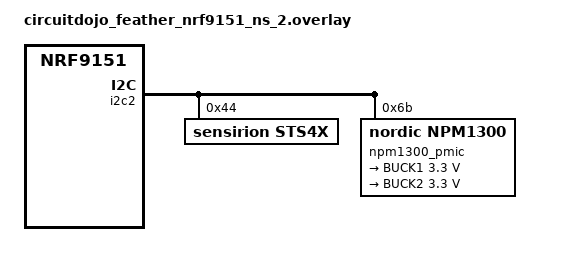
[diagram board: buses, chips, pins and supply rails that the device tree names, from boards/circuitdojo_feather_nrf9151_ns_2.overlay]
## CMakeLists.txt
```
# SPDX-License-Identifier: Apache-2.0

cmake_minimum_required(VERSION 3.20.0)

find_package(Zephyr REQUIRED HINTS $ENV{ZEPHYR_BASE})
project(fleetpin)

target_sources(app PRIVATE src/main.c)

# LTE Cloud files
target_sources(app PRIVATE src/cloud/cloud.c)
# Fleetpin Platform I/O files
target_sources(app PRIVATE src/cloud/apiclient/api_client.c)
# Authentication
target_sources(app PRIVATE src/cloud/authentication/auth.c)
# Decompression
target_sources(app PRIVATE src/cloud/miniz/miniz.c)

# Waveshare epaper files
target_sources(app PRIVATE src/epaper/epaper_driver.c)
target_sources(app PRIVATE src/epaper/epaper.c)
target_sources(app PRIVATE src/epaper/GUI_Paint.c)
target_sources(app PRIVATE src/epaper/Fonts/font8.c)
target_sources(app PRIVATE src/epaper/Fonts/font12.c)
target_sources(app PRIVATE src/epaper/Fonts/font16.c)
target_sources(app PRIVATE src/epaper/Fonts/font20.c)
target_sources(app PRIVATE src/epaper/Fonts/font24.c)

# Flash filesystem
target_sources(app PRIVATE src/flash/flash_fs.c)

# Device configuration
target_sources(app PRIVATE src/config/device_cfg.c)

# Date / Time - the libraries are include via the defines in the prj.conf file

target_include_directories(app PUBLIC src)
```

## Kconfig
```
menu "Application Configuration"

source "Kconfig.zephyr"

config DEFAULT_DELAY_MINUTES
    int "Update interval (minutes)"
    default 2

config APN_DEFAULT_VALUE
    string "Description of the string option"
    default "onemondo"
    help
      This is a custom string configuration for the APN of SIM card used.

config DEVICE_ID
    int "Device ID of this device"
    default 0
    help
      This is a custom string configuration for the device ID of this device.

config API_SECRET
    string "API Secret for HMAC encoding"
    default "ABC123"
    help
      API secret 

rsource "src/cloud/Kconfig.cloud"

rsource "src/flash/Kconfig.flash"

endmenu
```

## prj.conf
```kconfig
# Heap and stacks
CONFIG_HEAP_MEM_POOL_SIZE=8192
CONFIG_MAIN_STACK_SIZE=4096
CONFIG_SYSTEM_WORKQUEUE_STACK_SIZE=4096
CONFIG_THREAD_NAME=y
# CONFIG_THREAD_ANALYZER=y
# CONFIG_THREAD_ANALYZER_AUTO=y
# CONFIG_THREAD_ANALYZER_RUN_UNLOCKED=y
# CONFIG_THREAD_ANALYZER_USE_PRINTK=y

# New Libc
CONFIG_NEWLIB_LIBC=n
CONFIG_NEWLIB_LIBC_FLOAT_PRINTF=n

# Network
CONFIG_NETWORKING=y
CONFIG_NET_NATIVE=n
CONFIG_NET_SOCKETS=y
CONFIG_NET_SOCKETS_OFFLOAD=y
CONFIG_POSIX_API=y
CONFIG_NET_IPV6=n
CONFIG_NET_IPV4=y

# LTE link control
CONFIG_LTE_LINK_CONTROL=y

# PSM enable
CONFIG_LTE_LC_PSM_MODULE=y
CONFIG_LTE_PSM_REQ=y
CONFIG_LTE_PSM_REQ_RPTAU="00100110" # 6 hour
CONFIG_LTE_PSM_REQ_RAT="00000011" # 6 sec active time

# Modem library
CONFIG_NRF_MODEM_LIB=y
CONFIG_NRF_MODEM_LIB_TRACE=n
CONFIG_MODEM_KEY_MGMT=y

# Date Time library
CONFIG_DATE_TIME=y
CONFIG_DATE_TIME_NTP=y
CONFIG_DATE_TIME_AUTO_UPDATE=y
# 12 hour updates
CONFIG_DATE_TIME_UPDATE_INTERVAL_SECONDS=43200
CONFIG_DATE_TIME_NTP_QUERY_TIME_SECONDS=3600

# Logging
CONFIG_LOG=y
# CONFIG_LOG_MODE_IMMEDIATE=y

# EPAPER (SPI)
CONFIG_SPI=y
CONFIG_SPI_NRFX=y
CONFIG_GPIO=y
CONFIG_SPI_ASYNC=y
CONFIG_SPI_SLAVE=y
CONFIG_TFM_LOG_LEVEL_SILENCE=y  # TFM fix to disable UART1, since SPI1 is used for e-Paper

# Regulator control
CONFIG_REGULATOR=y
# Zephyr Device Power Management
# CONFIG_PM_DEVICE=y

# Enable flash operations.
# CONFIG_SPI=y # Already enabled above in EPAPER (SPI) section
CONFIG_SPI_NOR=y
CONFIG_SPI_NOR_FLASH_LAYOUT_PAGE_SIZE=4096
CONFIG_SPI_NOR_SFDP_RUNTIME=y
CONFIG_FLASH=y
CONFIG_FLASH_MAP=y
CONFIG_FLASH_PAGE_LAYOUT=y
# Enable the LittleFS file system.
CONFIG_FILE_SYSTEM=y
CONFIG_FILE_SYSTEM_LITTLEFS=y
# Erase
# CONFIG_APP_WIPE_STORAGE=y

# Log immediate
CONFIG_LOG=y
CONFIG_LOG_MODE_IMMEDIATE=y

# Partition manager settings
CONFIG_PM_EXTERNAL_FLASH_MCUBOOT_SECONDARY=n
CONFIG_PM_OVERRIDE_EXTERNAL_DRIVER_CHECK=y

# cJSON
CONFIG_CJSON_LIB=y

# HTTP
CONFIG_HTTP_CLIENT=y

# MBED TLS for Authentication
CONFIG_MBEDTLS=y
CONFIG_MBEDTLS_MD_C=y
CONFIG_MBEDTLS_SHA256_C=y
CONFIG_NRF_SECURITY=y
CONFIG_NORDIC_SECURITY_BACKEND=y

# Enable nordic security backend and PSA APIs
CONFIG_MBEDTLS_PSA_CRYPTO_C=y

CONFIG_MBEDTLS_ENABLE_HEAP=y
CONFIG_MBEDTLS_HEAP_SIZE=8192

# Debug
# CONFIG_ASSERT=y
# CONFIG_RESET_ON_FATAL_ERROR=n

# Change host
CONFIG_CLOUD_HOSTNAME="fota.fleetpin.com"
# Endpoints defined in code, as there are multiple
#CONFIG_CLOUD_PUBLISH_PATH="/api/device/data"
# If using TLS, the port has to be 443 for https
CONFIG_CLOUD_PORT=3000

# SIM Card's APN
CONFIG_APN_DEFAULT_VALUE="onemondo" # Onemondo APN
#CONFIG_APN_DEFAULT_VALUE="m2m" # Spark APN

# Device configuration specific
CONFIG_DEVICE_ID=1
CONFIG_API_SECRET="ABC123"
# Final value should be 12 hours
# CONFIG_DEFAULT_DELAY_MINUTES=720 # 12 hours
# But for faster testing is currently set to 2 minutes in the default value in Kconfig
```

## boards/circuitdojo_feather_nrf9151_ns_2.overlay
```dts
/*
 * Copyright (c) 2024 Circuit Dojo LLC
 *
 * SPDX-License-Identifier: Apache-2.0
 */

&i2c2 {

	sts4x: sts4x@44 {
		compatible = "sensirion,sts4x";
		reg = <0x44>;
		repeatability = <2>;
	};
	
	npm1300_pmic: pmic@6b {
        compatible = "nordic,npm1300";
        reg = <0x6b>;

        regulators {
            compatible = "nordic,npm1300-regulator";

            BUCK1: BUCK1 {
				regulator-min-microvolt = <3300000>;
				regulator-max-microvolt = <3300000>;
                regulator-init-microvolt = <3300000>; /* 3.3V */
				startup-delay-us = <2000>;
				regulator-always-on;
                // regulator-boot-on;
            };
            BUCK2: BUCK2 {
				regulator-min-microvolt = <3300000>;
				regulator-max-microvolt = <3300000>;
                regulator-boot-on;
            };
        };
    };
};
```

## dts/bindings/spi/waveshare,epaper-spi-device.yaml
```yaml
# Copyright (c) 2026, Flexware Ltd
# SPDX-License-Identifier: Apache-2.0

compatible: "waveshare,epaper-spi-device"

include: [spi-device.yaml]

description: |
    This binding provides the ePaper SPI device resources to
    build and run epaper driver in Zephyr.
    Additional GPIOs required for ePaper display operation should also be defined.

properties:
  chip-select-gpios:
    type: phandle-array
    required: true
    description: |
      Board GPIO input used to manually control the chip select.

  busy-gpios:
    type: phandle-array
    required: true
    description: |
      Board GPIO input used to detect that the device is busy.

  rst-gpios:
    type: phandle-array
    required: true
    description: |
      Board GPIO output used to reset the device.
  
  data-command-gpios:
    type: phandle-array
    required: true
    description: |
      Board GPIO output used to select if the transaction is data or command.

  pwr-gpios:
    type: phandle-array
    required: true
    description: |
      Board GPIO output used to power on/off the device.
```

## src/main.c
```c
/*
 * Copyright (c) 2020 Circuit Dojo LLC
 *
 * SPDX-License-Identifier: Apache-2.0
 */

#include <zephyr/kernel.h>
#include <zephyr/pm/device.h>
#include <zephyr/logging/log.h>
LOG_MODULE_REGISTER(main, LOG_LEVEL_DBG);

/* nRF Libraries */
#include <modem/nrf_modem_lib.h>
#include <modem/lte_lc.h>
#include <modem/modem_info.h>

#include <modem/nrf_modem_lib.h>
#include <nrf_modem_at.h>

/* Local */
#include "cloud/cloud.h"
#include "cloud/apiclient/api_client.h"
#include "config/device_cfg.h"
#include "date_time.h"
#include "epaper/epaper.h"
#include "flash/flash_fs.h"

#include "lib/macro.h"
#include "version.h"

#include <inttypes.h>
#include <stdint.h>

//Header Parsing 
#include <stdio.h>
#include <string.h>
#include <ctype.h>
#include <stdlib.h>

#include "cloud/miniz/miniz.h" 

#ifndef CONFIG_APN_DEFAULT_VALUE
#   define CONFIG_APN_DEFAULT_VALUE "onemondo"
#endif

#define CONFIG_RETRY_DELAY_MINUTES 1

/* Timer */
static void timeout_handler(struct k_timer *timer_id);
K_TIMER_DEFINE(timer, timeout_handler, NULL);

/* Thread control */
K_SEM_DEFINE(thread_sem, 0, 1);
K_SEM_DEFINE(lte_connected, 0, 1);
K_SEM_DEFINE(new_display, 0, 1);
K_SEM_DEFINE(new_device_cfg, 0, 1); 

/* Variables */
// Declare a static image buffer for the ePaper display
// Each byte represents 8 horizontal pixels.
#define MAX_WIDTH   800u
#define MAX_HEIGHT  480u
#define MAX_IMAGE_SIZE ((MAX_WIDTH/8u) * MAX_HEIGHT)

//Also need a receive buffer for the compressed data received from the http request 
static uint8_t http_receive_buf[MAX_IMAGE_SIZE] = {0}; 

//Create a new image cache
static uint8_t DisplayImage[MAX_IMAGE_SIZE] = {0};
static size_t current_display_image_index = 0u;
static device_cfg_t * device_cfg_ptr = NULL;
static device_cfg_t http_device_cfg = {0}; 

static void timeout_handler(struct k_timer *timer_id)
{
    LOG_INF("Main loop going back to sleep");
    k_sem_give(&thread_sem);
}

static void lte_handler(const struct lte_lc_evt *evt)
{
    switch (evt->type) {
    case LTE_LC_EVT_NW_REG_STATUS:
        if ((evt->nw_reg_status == LTE_LC_NW_REG_REGISTERED_HOME) ||
            (evt->nw_reg_status == LTE_LC_NW_REG_REGISTERED_ROAMING)) 
        {
            LOG_INF("LTE connected to network.");
            k_sem_give(&lte_connected);
        }
        break;

    default:
        break;
    }
}

/* Initialization of AUX pin */
#if defined(CONFIG_BOARD_CIRCUITDOJO_FEATHER_NRF9151)
#define AUXANTCFG_ENABLE "AT\%XANTCFG=1"

static inline void set_apn_name(const char * apn_name)
{
#   define GET_APN_CONFIG "AT+CGDCONT?"
#   define SET_APN_CONFIG "AT+CGDCONT=1,\"IP\","
    char response[5u] = {0};
    char at_command[60] = {0};
    ZERO_ARRAY(response);
    ZERO_ARRAY(at_command);

    // Build the command to send
    snprintf(at_command, sizeof(at_command), "%s\"%s\"\n", SET_APN_CONFIG, apn_name);

    LOG_DBG("Sending APN config: %sn", at_command);
    int err = nrf_modem_at_cmd(response, sizeof(response), "%s", at_command);
    if (err)
    {
        LOG_ERR("Failed to set APN configuration (err: %d)", err);
    }
    LOG_DBG("APN config Response: %s", response);
}

NRF_MODEM_LIB_ON_INIT(aux_init_hook, on_modem_lib_init, NULL);
static void on_modem_lib_init(int ret, void *ctx)
{
    ARG_UNUSED(ctx);

    if (ret != 0)
    {
        return;
    }

    LOG_DBG("*** Setting configuration: %s ***\n", AUXANTCFG_ENABLE);
    int err = nrf_modem_at_printf("%s", AUXANTCFG_ENABLE);
    if (err)
    {
        LOG_ERR("Failed to set configuration (err: %d)", err);
    }

    set_apn_name(CONFIG_APN_DEFAULT_VALUE);
}
#endif

#if 0
/**
 * The received http data, pushing the data into the display image buffer. Already do this in the 
 * http response callback when we uncompress the data. 
*/
static void push_http_bmp_into_epaper_buffer(bool is_first_chunk_of_data, 
    const uint8_t * const http_bmp_data, size_t http_data_len)
{
    if (is_first_chunk_of_data)
    {
        current_display_image_index = 0u;
    }

    int status = epaper_store_data_to_buffer(DisplayImage, current_display_image_index, sizeof(DisplayImage), 
        http_bmp_data, http_data_len);
    if (status == -EDOM || status == -EINVAL)
    {
        LOG_ERR("Failed to store http bmp data.");
    }
    current_display_image_index = status;
}

static void store_epaper_buffer_to_file(const char * filename, const uint8_t * const epaper_buffer)
{
    int result = flash_fs_write_file_to_fs(filename, DisplayImage, sizeof(DisplayImage));
    if (result != 0)
    {
        LOG_ERR("Failed to write epaper bitmap to file.");
    }
}
#endif 

/* Define the stack sizes for the threads */
#define STACK_SIZE                  1024
#define CLOUD_THREAD_STACK_SIZE     (2*STACK_SIZE)
#define FLASH_THREAD_STACK_SIZE     (3*STACK_SIZE)
#define EPAPER_THREAD_STACK_SIZE    (2*STACK_SIZE)
/* Define thread priorities (lower number = higher priority) */
#define CLOUD_PRIORITY 7 
#define EPAPER_PRIORITY 8
#define FLASH_FS_PRIORITY 9

static void get_time_now(void)
{
    int64_t time_now = 0;
    int err = date_time_now(&time_now);
    if (err < 0)
    {
        LOG_ERR("Failed to get date/time. Err: %i", err);
        return;
    }
    LOG_DBG("Time now: %" PRIi64 "ms", time_now);
}

static void date_time_handler(const struct date_time_evt *evt) 
{
    switch (evt->type) 
    {
        case DATE_TIME_OBTAINED_NTP:
            LOG_DBG("Time obtained from NTP\n");
            // Perform actions with time here
            break;
        case DATE_TIME_OBTAINED_MODEM:
            LOG_DBG("Time obtained from Modem\n");
            break;
        default:
            break;
    }
}

#if 0
static void dump_of_request_update_response_handler_from_arduino(void)
{
      // Check for connection/timeout errors
  if (code < 0) {
    printf("[APIClient] HTTP error: %d\n", code);
    result.success = false;
    result.hasUpdate = false;
    return result;
  }
  
    std::map<String, String> headers = readAllHeaders(http);
  if (headers.find("ETag") != headers.end()) {
    printf("[APIClient] Last ETag %s\n", headers["ETag"]);
    result.lastETag = headers["ETag"];
  }

  // Extract X-Config-Version
  if (headers.find("X-Config-Version") != headers.end()) {
    result.configVersion = headers["X-Config-Version"];
    printf("[APIClient] X-Config-Version: %s\n", result.configVersion.c_str());
  }

  // Extract X-Sleep-Seconds
  if (headers.find("X-Sleep-Seconds") != headers.end()) {
    result.sleepForSeconds = headers["X-Sleep-Seconds"].toInt();
    printf("[APIClient] X-Sleep-Seconds: %d seconds\n", result.sleepForSeconds);
  } else {
    result.sleepForSeconds = 0;
  }

  if (code == 200)
  {
    printf("[APIClient] Update available, status code: %d\n", code);
    String response = http.responseBody();
    int compressedLen = response.length();
    printf("[APIClient] Compressed response length: %d\n", compressedLen);

    // Allocate destination buffer (assume uncompressed will not exceed 48000)
    mz_ulong uncompressedLen = 48000;
    uint8_t* uncompressed = new uint8_t[uncompressedLen];
    int resultCode = mz_uncompress(uncompressed, &uncompressedLen, (const uint8_t*)response.c_str(), compressedLen);

    if (resultCode == Z_OK) {
      printf("[APIClient] Uncompressed BMP length: %lu\n", uncompressedLen);
      result.rucBMP = uncompressed;
      result.hasUpdate = true;
      result.success = true;
    } else {
      printf("[APIClient] Failed to decompress BMP, zlib error: %d\n", resultCode);
      result.errorMessage = "Decompression failed";
      delete[] uncompressed;
      result.hasUpdate = false;
      result.success = false;
    }
  }
  else if (code == 304)
  {
    printf("[APIClient] No update available, status code: %d\n", code);
    result.hasUpdate = false;
    result.success = true;
  }
  else if (code >= 400)
  {
    printf("[APIClient] Error HTTP status: %d\n", code);
    result.hasUpdate = false;
    result.success = false;
    
    // Read and log the response body
    String response = http.responseBody();
    printf("[APIClient] Error response body: %s\n", response.c_str());
    
    // Try to parse JSON error message
    DynamicJsonDocument doc(256);
    DeserializationError error = deserializeJson(doc, response);
    
    if (!error) {
      const char* errorCode = doc["error"];
      const char* message = doc["message"];
      
      if (errorCode && message) {
        printf("[APIClient] Parsed error - Code: %s, Message: %s\n", errorCode, message);
        result.errorMessage = String(errorCode) + ": " + String(message);
      } else if (message) {
        result.errorMessage = String(message);
      } else if (errorCode) {
        result.errorMessage = String(errorCode);
      } else {
        result.errorMessage = "HTTP " + String(code);
      }
    } else {
      printf("[APIClient] Failed to parse JSON error: %s\n", error.c_str());
      result.errorMessage = "HTTP " + String(code);
    }
  }
  else
  {
    printf("[APIClient] Unexpected HTTP status: %d\n", code);
    result.hasUpdate = false;
    result.success = false;
    result.errorMessage = "HTTP " + String(code);
  }
}

static void dump_of_request_config_response_handler_from_arduino(void)
{
    // Check for connection/timeout errors
    if (code < 0) {
        printf("[APIClient] Config HTTP error: %d\n", code);
        result.errorMessage = "HTTP error: " + String(code);
        return result;
    }

    if (code == 200) {
        printf("[APIClient] Config fetch successful, parsing JSON\n");
        String response = http.responseBody();
        printf("[APIClient] Config response: %s\n", response.c_str());

        // Parse JSON response
        DynamicJsonDocument doc(1024);
        DeserializationError error = deserializeJson(doc, response);

        if (error) {
        printf("[APIClient] JSON parse error: %s\n", error.c_str());
        result.errorMessage = "JSON parse error: " + String(error.c_str());
        return result;
        }

        // Extract config fields
        result.apn = doc["apn"] | "";
        result.wifiSSID = doc["wifiSSID"] | "";
        result.wifiPassword = doc["wifiPassword"] | "";
        result.apiSecret = doc["apiSecret"] | "";
        result.apiUrl = doc["apiUrl"] | "";
        result.configVersion = doc["configVersion"] | "";

        // Validate required fields
        if (result.apiUrl.length() == 0 || result.configVersion.length() == 0) {
        printf("[APIClient] Invalid config: missing required fields\n");
        result.errorMessage = "Missing required config fields";
        return result;
        }

        result.success = true;
        printf("[APIClient] Config parsed successfully\n");
    } else {
    printf("[APIClient] Config fetch failed with status: %d\n", code);
    result.errorMessage = "HTTP " + String(code);
    }
}

static void update_with_new_string(char * const target_string, char * const source_string, size_t max_len)
{
    // Update the target string
    memset(target_string, 0, max_len);
    strncpy(target_string, source_string, max_len - 1u);
}

static bool is_strings_same(char * str1, const char * str2, size_t max_len)
{
    if (strncmp(str1, str2, max_len) != 0)
    {
        LOG_DBG("New string detected: %s", str2);
        return true;
    }
    return false;
}
#endif 

int get_header_value(const char *response_start,
                     const char *body_start,
                     const char *field_name,
                     char *out,
                     size_t out_size)
{
    size_t header_len = (size_t)(body_start - response_start);
    size_t field_len  = strlen(field_name);

    const char *p   = response_start;
    const char *end = response_start + header_len;

    while (p < end) {
        const char *eol = strstr(p, "\r\n");
        if (!eol || eol > end) break;

        /* Check if this line starts with "FieldName: " */
        if ((size_t)(eol - p) > field_len + 2 &&
            strncmp(p, field_name, field_len) == 0 &&
            p[field_len] == ':' && p[field_len + 1] == ' ')
        {
            const char *val     = p + field_len + 2;
            size_t      val_len = (size_t)(eol - val);

            if (val_len >= out_size) val_len = out_size - 1;
            memcpy(out, val, val_len);
            out[val_len] = '\0';
            return 0;
        }

        p = eol + 2;
    }

    return -1;  /* not found */
}

static void response_callback(struct http_response *rsp,
				   enum http_final_call final_data,
				   void *user_data)
{
    LOG_INF("HTTP Status %d", rsp->http_status_code);

    /* Check status */
    if (rsp->http_status_code != 200 && rsp->http_status_code != 201)
    {
        LOG_INF("Bad Request, returning"); 
        return;
    }

    if (final_data == HTTP_DATA_MORE) 
    {
        LOG_INF("Partial data received (%zd bytes)", rsp->data_len);
        LOG_INF("Data Processed: %zd", rsp->processed);
        LOG_INF("Max Data Len: %zd", rsp->recv_buf_len); 
    }
    if (final_data == HTTP_DATA_FINAL)
    {
        #ifdef DEBUG_HTTP_RESPONSE
        LOG_INF("All the data received (%zd bytes)", rsp->data_len);
        //Hexdump seems to cause stack overflow 
        //LOG_HEXDUMP_INF(rsp->recv_buf, rsp->recv_buf_len, "Response data");

        //Print out as much info as I can 
        LOG_INF("Data Start Address: 0x%x", rsp->recv_buf); 
        LOG_INF("Body Frag Start Address: 0x%x", rsp->body_frag_start); 
        LOG_INF("Body Frag Length: %d", rsp->body_frag_len);
        LOG_INF("Max Data Len: %zd", rsp->recv_buf_len); 
        LOG_INF("Data Processed: %zd", rsp->processed);
        LOG_INF("CL Present: %d Body Found: %d Message Complete: %d", rsp->cl_present, rsp->body_found, rsp->message_complete); 

        printf("Header Dump\r\n"); 
        for (int i = 0; i < (rsp->data_len - rsp->body_frag_len); i++) 
        {
            printf("%02x ", rsp->recv_buf[i]);  
        }
        printf("\r\n");

        printf("Body Dump\r\n");
        for (int i = 0; i < (rsp->body_frag_len); i++) 
        { 
            printf("%02x ", rsp->body_frag_start[i]); 

        }
        printf("\r\n"); 
        #endif 

        //Extract our header data
        //Copy existing values into this so we dont overwrite legit values in other fields
        memcpy(&http_device_cfg, device_cfg_ptr, sizeof(device_cfg_t)); 
        printf("Existing Device Cfg:\r\n");
        printf("ID: %d\r\n", http_device_cfg.device_id);
        printf("ETAG: %s\r\n", http_device_cfg.last_etag);
        printf("Version: %s\r\n", http_device_cfg.version);

        char etag[DEV_CFG_MAX_ETAG_LENGTH]; 
        char version[DEV_CFG_MAX_VERSION_LENGTH]; 
        bool update = false; 

        if (get_header_value(rsp->recv_buf, rsp->body_frag_start, "ETag", etag, sizeof(etag)) == 0)
        {
            //printf("ETag: %s\n", etag); 
            //Compare to existing etag val in the device cfg 
            if (strcmp(etag, device_cfg_ptr->last_etag) != 0)
            {
                //Update the val
                strcpy(http_device_cfg.last_etag, etag); 
                printf("New Etag: %s\r\n", http_device_cfg.last_etag);
                //Flag update? 
                update = true; 
            }
        }

        if (get_header_value(rsp->recv_buf, rsp->body_frag_start, "X-Config-Version", version, sizeof(version)) == 0)
        {
            //printf("Version: %s\n", version); 
            //Compare to existing etag val in the device cfg 
            if (strcmp(version, device_cfg_ptr->version) != 0)
            {
                //Update the val
                strcpy(http_device_cfg.version, version); 
                printf("New Version: %s\r\n", http_device_cfg.version);
                //Flag update? 
                update = true; 
            }
        }

        if (update) 
        {
            //Deal with in the device cfg thread
            k_sem_give(&new_device_cfg); 
            //Have to make a copy 
            //device_cfg_set(&http_device_cfg); 
        }

        if (!rsp->body_found)
        {
            LOG_INF("Body not found");
            return;
        }

        // FIXME: Process response
        ARG_UNUSED(user_data);

        //Do the decompression, extract the http receive buffer to the display image 
        mz_ulong uncompressed_len = MAX_IMAGE_SIZE;  
        int ret_code = mz_uncompress(DisplayImage, &uncompressed_len, rsp->body_frag_start, rsp->body_frag_len); 

        if (ret_code == Z_OK)
        {
            #ifdef DEBUG_HTTP_RESPONSE
            LOG_INF("Uncompressed Data!"); 
            LOG_INF("Dest Len: %zd", uncompressed_len); 
            printf("Decompressed Data Dump\r\n");
            for (int i = 0; i < MAX_IMAGE_SIZE; i++) 
            { 
                printf("%02x", DisplayImage[i]); 
            }
            printf("\r\n");
            #endif 
        }
        else 
        {
            LOG_INF("Failed to decompress :( Err Code: %d", ret_code); 
        }

        
        /*
        // Store the updated device configuration to flash
        if (must_update_device_cfg)
        {
            int err = device_cfg_set(device_cfg_ptr);
            if (err < 0)
            {
                LOG_ERR("Failed to store updated device configuration. Err: %i", err);
            }
        }
            

        // FIXME: Do I still need to push this, if the actual response is already in the DisplayImage buffer via the callback?
        //          The other question is, also, do I need to have a separate buffer for the HTTP response and then copy to DisplayImage here?
        //push_http_bmp_into_epaper_buffer(<response buffer>, DisplayImage);
        store_epaper_buffer_to_file(device_cfg_ptr->version, DisplayImage);
        */
    }
}

/* Thread entry function for the first thread (e.g., blinking an LED) */
void cloud_thr(void *p1, void *p2, void *p3) 
{

    ARG_UNUSED(p1);
    ARG_UNUSED(p2);
    ARG_UNUSED(p3);
    
    // Register date time handler
    ARG_UNUSED(date_time_handler);
    date_time_register_handler(date_time_handler);

    /* Register callback handler to handler LTE events */
    lte_lc_register_handler(lte_handler);

    /* Init modem lib */
    int err = nrf_modem_lib_init();
    if (err < 0)
    {
        LOG_ERR("Failed to init modem lib. (err: %i)", err);
        return;
    }

    /* Cloud init */
    err = cloud_init();
    if (err < 0)
    {
        LOG_ERR("Unable to set callback. Err: %i", err);
        return;
    }

    /* Power saving is turned on */
    lte_lc_psm_req(false);

    /* Connect */
    LOG_INF("Connecting to LTE...");
    err = lte_lc_connect();
    /* Wait indefinitely (or add timeout?) */
    k_sem_take(&lte_connected, K_FOREVER);
    if (err < 0)
    {
        LOG_ERR("Failed to connect. Err: %i", err);
        return;
    }

    get_time_now();

    /* Wait for a while, because with IPv4v6 PDN the IPv6 activation takes a bit more time. */
	k_sleep(K_SECONDS(1));

    LOG_INF("Safe to use sockets now. LTE is connected.");

    get_time_now();

    /* Start timer to periodically wake the device and publish data */
    k_timer_start(&timer, K_MINUTES(CONFIG_DEFAULT_DELAY_MINUTES), K_MINUTES(CONFIG_DEFAULT_DELAY_MINUTES));

    /* Allow for instant publish */
    k_sem_give(&thread_sem);

    device_cfg_ptr = device_cfg_get();

    while (1)
    {
        k_sem_take(&thread_sem, K_FOREVER);

        /* Publish and wait for response */
        // api_client_request_udpate does have a timeout so should release the semaphore in the callback eventually.
        // See cloud.c : const int32_t get_timeout_ms = 30000; // As per fleetpin implementation, 30 second timeout.
        // FIXME: Implement the configugration callback handler separately
        //api_client_fetch_config("configuration", device_cfg_ptr, dump_of_request_config_response_handler_from_arduino, DisplayImage, sizeof(DisplayImage));
        api_client_request_udpate("/ruc/label.bmp", device_cfg_ptr, response_callback, http_receive_buf, sizeof(http_receive_buf));

        k_sem_give(&new_display);
        //Returned from the cloud functionality. Should have freed the display image 
        
        // Wait until the socket times out or a response is received.
        k_sem_take(&thread_sem, K_FOREVER);

        if (err < 0)
        {
            LOG_ERR("Unable to publish. Err: %i", err);
            // Stop the current timer and attempt to republish in CONFIG_RETRY_DELAY_MINUTES minutes
            k_timer_stop(&timer);
            k_timer_start(&timer, K_MINUTES(CONFIG_RETRY_DELAY_MINUTES), K_MINUTES(CONFIG_RETRY_DELAY_MINUTES));
        }
        else
        {
            LOG_INF("Cloud publish successful.");
            // Stop the current timer and republish in the normal default delay interval
            k_timer_stop(&timer);
            k_timer_start(&timer, K_MINUTES(CONFIG_DEFAULT_DELAY_MINUTES), K_MINUTES(CONFIG_DEFAULT_DELAY_MINUTES));
        }
    }
}

/* Thread entry function for the third thread */
void epaper_thr(void *p1, void *p2, void *p3) 
{
    ARG_UNUSED(p1);
    ARG_UNUSED(p2);
    ARG_UNUSED(p3);

    int err = epaper_init(DisplayImage);
    if (err < 0)
    {
        LOG_ERR("Failed to init epaper. (err: %i)", err);
        return;
    }
    k_sleep(K_SECONDS(1));

    // ePAPER test display
    epaper_display_test();

    while(1)
    {
        k_sem_take(&new_display, K_FOREVER);
        LOG_INF("New Image!!!"); 
        /*
        printf("Decompressed Data Dump\r\n");
        for (int i = 0; i < MAX_IMAGE_SIZE; i++) 
        { 
            printf("%02x", DisplayImage[i]); 
        }
        printf("\r\n");
        */
        epaper_draw_current_image_buffer(DisplayImage); 
        //Set display image to zeros to avoid re writing?? 

    }

}

/* Thread entry function for the fourth thread */
void flash_fs_thr(void *p1, void *p2, void *p3) 
{
    ARG_UNUSED(p1);
    ARG_UNUSED(p2);
    ARG_UNUSED(p3);

    flash_fs_init();

    // Try and read the device configuration from the file system.
    device_cfg_init();

    while(1)
    {
        k_sem_take(&new_device_cfg, K_FOREVER); 
        LOG_DBG("New Device Config!!"); 
        device_cfg_set(&http_device_cfg);
    }
}

/* Define the threads using K_THREAD_DEFINE */
K_THREAD_DEFINE(cloud_thread_id, CLOUD_THREAD_STACK_SIZE, cloud_thr, NULL, NULL, NULL, CLOUD_PRIORITY, 0, 0);
K_THREAD_DEFINE(epaper_thread_id, EPAPER_THREAD_STACK_SIZE, epaper_thr, NULL, NULL, NULL, EPAPER_PRIORITY, 0, 0);
K_THREAD_DEFINE(flash_fs_thread_id, FLASH_THREAD_STACK_SIZE, flash_fs_thr, NULL, NULL, NULL, FLASH_FS_PRIORITY, 0, 0);

int main(void)
{
    LOG_INF("Fleetpin Project. Board: %s", CONFIG_BOARD);

    /* The main thread can also perform work or go to sleep */
    while (1) 
    {
        k_sleep(K_FOREVER); /* Sleep the main thread indefinitely */
    }
}
```

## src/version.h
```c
#ifndef VERSION_H
#define VERSION_H

    #ifndef VERSION
        #define VERSION "0.1.0"
    #endif

    #ifndef BUILD_TIMESTAMP
        #define BUILD_TIMESTAMP __DATE__ " " __TIME__
    #endif

#endif
```
